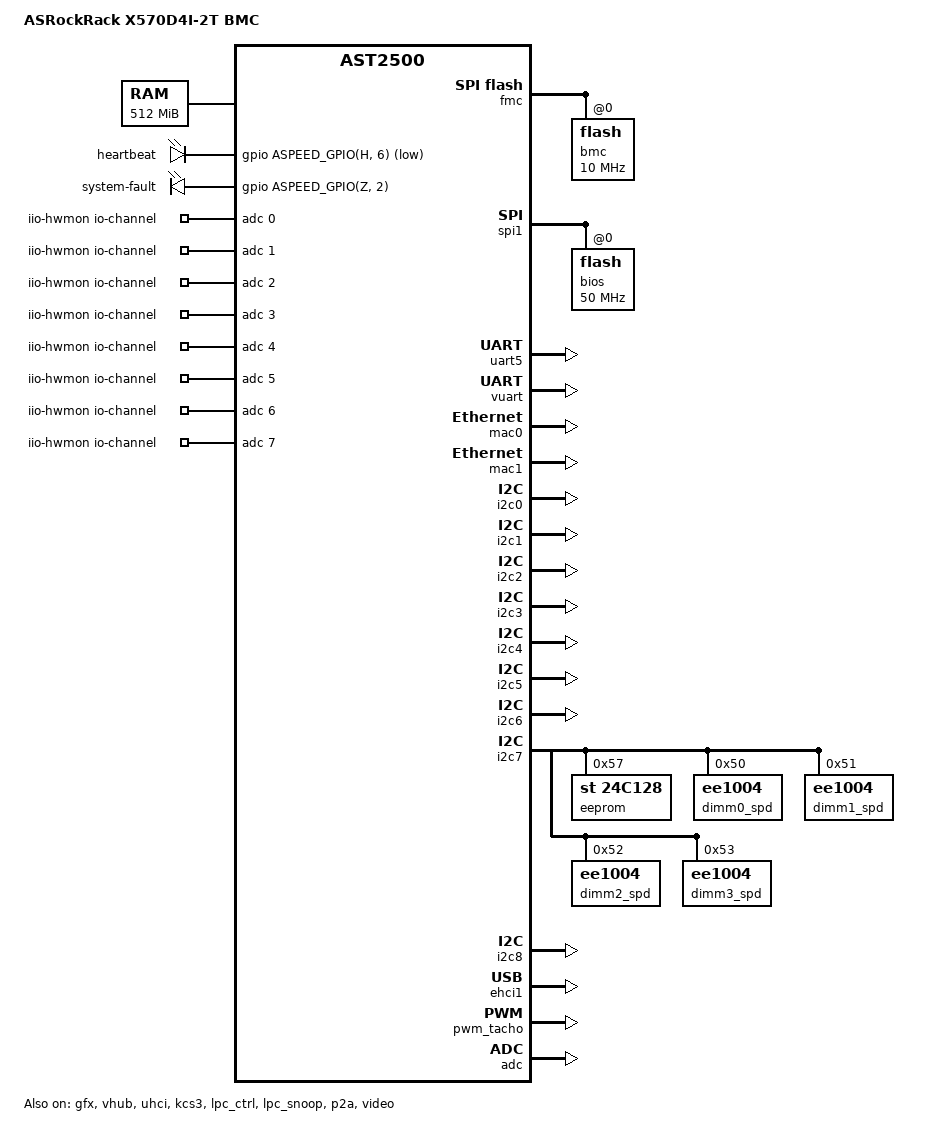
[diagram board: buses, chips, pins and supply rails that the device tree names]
// SPDX-License-Identifier: GPL-2.0+
/dts-v1/;
#include "aspeed-g5.dtsi"
#include <dt-bindings/gpio/aspeed-gpio.h>

/ {
	model = "ASRockRack X570D4I-2T BMC";
	compatible = "asrock,x570d4i2t-bmc", "aspeed,ast2500";

	chosen {
		stdout-path = &uart5;
	};

	aliases {
		spi0 = &fmc;
		spi1 = &spi1;
	};

	memory@80000000 {
		reg = <0x80000000 0x20000000>;
	};

	reserved-memory {
		#address-cells = <1>;
		#size-cells = <1>;
		ranges;

		pci_memory: region@9a000000 {
			no-map;
			reg = <0x9a000000 0x00010000>; /* 64K */
		};

		video_engine_memory: jpegbuffer {
			size = <0x02800000>;	/* 40M */
			alignment = <0x01000000>;
			compatible = "shared-dma-pool";
			reusable;
		};

		gfx_memory: framebuffer {
			size = <0x01000000>;
			alignment = <0x01000000>;
			compatible = "shared-dma-pool";
			reusable;
		};
	};

	leds {
		compatible = "gpio-leds";

		heartbeat {
			gpios = <&gpio ASPEED_GPIO(H, 6) GPIO_ACTIVE_LOW>;
			linux,default-trigger = "timer";
		};

		system-fault {
			gpios = <&gpio ASPEED_GPIO(Z, 2) GPIO_ACTIVE_HIGH>;
			panic-indicator;
		};
	};

	iio-hwmon {
		compatible = "iio-hwmon";
		io-channels = <&adc 0>, <&adc 1>, <&adc 2>, <&adc 3>, <&adc 4>,
			<&adc 5>, <&adc 6>, <&adc 7>, <&adc 8>, <&adc 9>,
			<&adc 10>, <&adc 11>, <&adc 12>;
	};
};

&gpio {
	status = "okay";
	gpio-line-names =
	/*  A */ "input-locatorled-n", "", "", "", "", "", "", "",
	/*  B */ "input-bios-post-cmplt-n", "", "", "", "", "", "", "",
	/*  C */ "", "", "", "", "", "", "control-locatorbutton-n", "",
	/*  D */ "button-power-n", "control-power-n", "button-reset-n",
		 "control-reset-n", "", "", "", "",
	/*  E */ "", "", "", "", "output-redfish-hi-ready", "", "", "",
	/*  F */ "", "", "", "", "", "", "", "",
	/*  G */ "output-hwm-vbat-enable", "input-id0-n", "input-id1-n",
		 "input-id2-n", "input-aux-smb-alert-n", "",
		 "input-psu-smb-alert-n", "",
	/*  H */ "", "", "", "", "input-mfg-mode-n", "",
		 "led-heartbeat-n", "input-case-open-n",
	/*  I */ "", "", "", "", "", "", "", "",
	/*  J */ "output-bmc-ready-n", "control-bios-spi-mux-n", "", "", "", "", "", "",
	/*  K */ "", "", "", "", "", "", "", "",
	/*  L */ "", "", "", "", "", "", "", "",
	/*  M */ "", "", "", "", "", "", "", "",
	/*  N */ "", "", "", "", "", "", "", "",
	/*  O */ "", "", "", "", "", "", "", "",
	/*  P */ "", "", "", "", "", "", "", "",
	/*  Q */ "", "", "", "", "input-bmc-smb-present-n", "", "",
		 "input-pcie-wake-n",
	/*  R */ "", "", "", "", "", "", "", "",
	/*  S */ "input-bmc-pchhot-n", "", "", "", "", "", "", "",
	/*  T */ "", "", "", "", "", "", "", "",
	/*  U */ "", "", "", "", "", "", "", "",
	/*  V */ "", "", "", "", "", "", "", "",
	/*  W */ "", "", "", "", "", "", "", "",
	/*  X */ "", "", "", "", "", "", "", "",
	/*  Y */ "input-sleep-s3-n", "input-sleep-s5-n", "", "", "", "",
		 "", "",
	/*  Z */ "", "", "led-fault-n", "output-bmc-throttle-n", "", "",
		 "", "",
	/* AA */ "input-cpu1-thermtrip-latch-n", "",
		 "input-cpu1-prochot-n", "", "", "", "", "",
	/* AB */ "", "input-power-good", "", "", "", "", "", "",
	/* AC */ "", "", "", "", "", "", "", "";
};

&fmc {
	status = "okay";
	flash@0 {
		status = "okay";
		label = "bmc";
		m25p,fast-read;
		spi-max-frequency = <10000000>;
#include "openbmc-flash-layout-64.dtsi"
	};
};

&spi1 {
	status = "okay";
	pinctrl-names = "default";
	pinctrl-0 = <&pinctrl_spi1_default>;
	flash@0 {
		status = "okay";
		label = "bios";
		m25p,fast-read;
		spi-max-frequency = <50000000>;
	};
};

&uart5 {
	status = "okay";
};

&vuart {
	status = "okay";
};

&mac0 {
	/* Dedicated 1GbE management port (Realtek RTL8211E) */
	status = "okay";
	pinctrl-names = "default";
	pinctrl-0 = <&pinctrl_rgmii1_default &pinctrl_mdio1_default>;

	nvmem-cells = <&eth0_macaddress>;
	nvmem-cell-names = "mac-address";
};

&mac1 {
	/* NC-SI sideband to Intel X550-AT2 dual 10GbE */
	status = "okay";
	pinctrl-names = "default";
	pinctrl-0 = <&pinctrl_rmii2_default &pinctrl_mdio2_default>;
	use-ncsi;

	nvmem-cells = <&eth1_macaddress>;
	nvmem-cell-names = "mac-address";
};

&i2c0 {
	status = "okay";
};

&i2c1 {
	status = "okay";
};

&i2c2 {
	status = "okay";
};

&i2c3 {
	status = "okay";
};

&i2c4 {
	status = "okay";
};

&i2c5 {
	/* SMBus on BMC connector (BMC_SMB_1) */
	status = "okay";
};

&i2c6 {
	status = "okay";
};

/*
 * i2c9: probing shows I2C mux chips at 0x72-0x77 (busy — already claimed).
 * No declared devices; leave disabled until topology is mapped.
 * i2c10/i2c11: return "Error reading bus" — no physical connections.
 * i2c12/i2c13: no known devices, leave disabled.
 */

&i2c7 {
	/* FRU and SPD EEPROM SMBus — also holds MAC addresses in NVMEM */
	status = "okay";

	eeprom@57 {
		compatible = "st,24c128", "atmel,24c128";
		reg = <0x57>;
		pagesize = <16>;

		nvmem-layout {
			compatible = "fixed-layout";
			#address-cells = <1>;
			#size-cells = <1>;

			eth0_macaddress: macaddress@3f80 {
				reg = <0x3f80 6>;
			};

			eth1_macaddress: macaddress@3f88 {
				reg = <0x3f88 6>;
			};
		};
	};

	/* DDR4 SPD EEPROMs (EE1004) - kernel drives SPA0/SPA1 page-select */
	dimm0_spd: eeprom@50 {
		compatible = "jedec,ee1004";
		reg = <0x50>;
	};
	dimm1_spd: eeprom@51 {
		compatible = "jedec,ee1004";
		reg = <0x51>;
	};
	dimm2_spd: eeprom@52 {
		compatible = "jedec,ee1004";
		reg = <0x52>;
	};
	dimm3_spd: eeprom@53 {
		compatible = "jedec,ee1004";
		reg = <0x53>;
	};
};

&i2c8 {
	/* SMBus on intelligent platform management bus header (IPMB_1) */
	status = "okay";
};

&gfx {
	status = "okay";
    memory-region = <&gfx_memory>;
};

&vhub {
	/* USB 2.0 virtual hub UDC (virtual media); no USB-NCM/RHI gadget */
	status = "okay";
};

&ehci1 {
	status = "okay";
};

&uhci {
	status = "okay";
};

&kcs3 {
	aspeed,lpc-io-reg = <0xca2>;
	status = "okay";
};

&lpc_ctrl {
	status = "okay";
};

&lpc_snoop {
	/*
	 * AMD AGESA generates 2-byte POST codes: byte-low on port 0x80,
	 * byte-high on port 0x81. Snoop both for full AGESA code capture.
	 */
	status = "okay";
	snoop-ports = <0x80 0x81>;
};

&p2a {
	status = "okay";
	memory-region = <&pci_memory>;
};

&video {
	status = "okay";
	memory-region = <&video_engine_memory>;
};

&pwm_tacho {
	/*
	 * X570D4I-2T has 3 fan headers (FAN1, FAN2, FAN3), all 4-pin,
	 * verified via the stock /api/asrr/settings/getsupportfan endpoint
	 * (only fan1..3 = 1). Channel mapping matches the sibling X570D4U
	 * (same PCB generation): PWM0→FAN1/TACH0, PWM1→FAN2/TACH1,
	 * PWM2→FAN3/TACH2. All headers are single-tach 4-pin.
	 */
	status = "okay";
	pinctrl-names = "default";
	pinctrl-0 = <&pinctrl_pwm0_default
		     &pinctrl_pwm1_default
		     &pinctrl_pwm2_default>;

	fan@0 {
		/* FAN1 (4-pin) */
		reg = <0x00>;
		aspeed,fan-tach-ch = /bits/ 8 <0x00>;
	};

	fan@1 {
		/* FAN2 (4-pin) */
		reg = <0x01>;
		aspeed,fan-tach-ch = /bits/ 8 <0x01>;
	};

	fan@2 {
		/* FAN3 (4-pin) */
		reg = <0x02>;
		aspeed,fan-tach-ch = /bits/ 8 <0x02>;
	};
};

&adc {
	status = "okay";
	pinctrl-names = "default";
	pinctrl-0 = <&pinctrl_adc0_default       /* 3VSB */
			&pinctrl_adc1_default    /* 5VSB */
			&pinctrl_adc2_default    /* VCPU */
			&pinctrl_adc3_default    /* VSOC */
			&pinctrl_adc4_default    /* VCCM */
			&pinctrl_adc5_default    /* APU-VDDP */
			&pinctrl_adc6_default    /* PM-VDD-CLDO  -> 1.2V_CLDO */
			&pinctrl_adc7_default    /* PM-VDDCR-S5  -> 1.05V_PROM_S5 */
			&pinctrl_adc8_default    /* PM-VDDCR     -> 1.05V_PROM */
			&pinctrl_adc9_default    /* VBAT */
			&pinctrl_adc10_default   /* 3V */
			&pinctrl_adc11_default   /* 5V */
			&pinctrl_adc12_default>; /* 12V */
};
